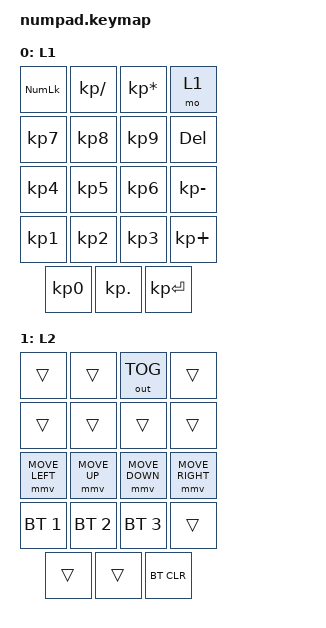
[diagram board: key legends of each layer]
// numpad.keymap
#include <behaviors.dtsi>
#include <dt-bindings/zmk/keys.h>
#include <dt-bindings/zmk/bt.h>
#include <dt-bindings/zmk/outputs.h>
#include <dt-bindings/zmk/mouse.h>


#define L1 0
#define L2 1

/ {
    keymap0: keymap {
        compatible = "zmk,keymap";
        
        default_layer {
            label = "L1";
            bindings = <
                &kp KP_NUM &kp KP_DIVIDE &kp KP_MULTIPLY &mo 1
                &kp KP_N7  &kp KP_N8  &kp KP_N9   &kp DEL
                &kp KP_N4  &kp KP_N5  &kp KP_N6   &kp KP_MINUS
                &kp KP_N1  &kp KP_N2  &kp KP_N3   &kp KP_PLUS
                &kp KP_N0             &kp KP_DOT  &kp KP_ENTER
            >;
        };
        fn_layer {
            label = "L2";
            bindings = <
                &trans &trans &out OUT_TOG &trans
                &trans &trans &trans &trans
                &mmv MOVE_LEFT &mmv MOVE_UP &mmv MOVE_DOWN &mmv MOVE_RIGHT
                &bt BT_SEL 1 &bt BT_SEL 2 &bt BT_SEL 3 &trans
                &trans        &trans &bt BT_CLR
            >;

        };
    };
};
